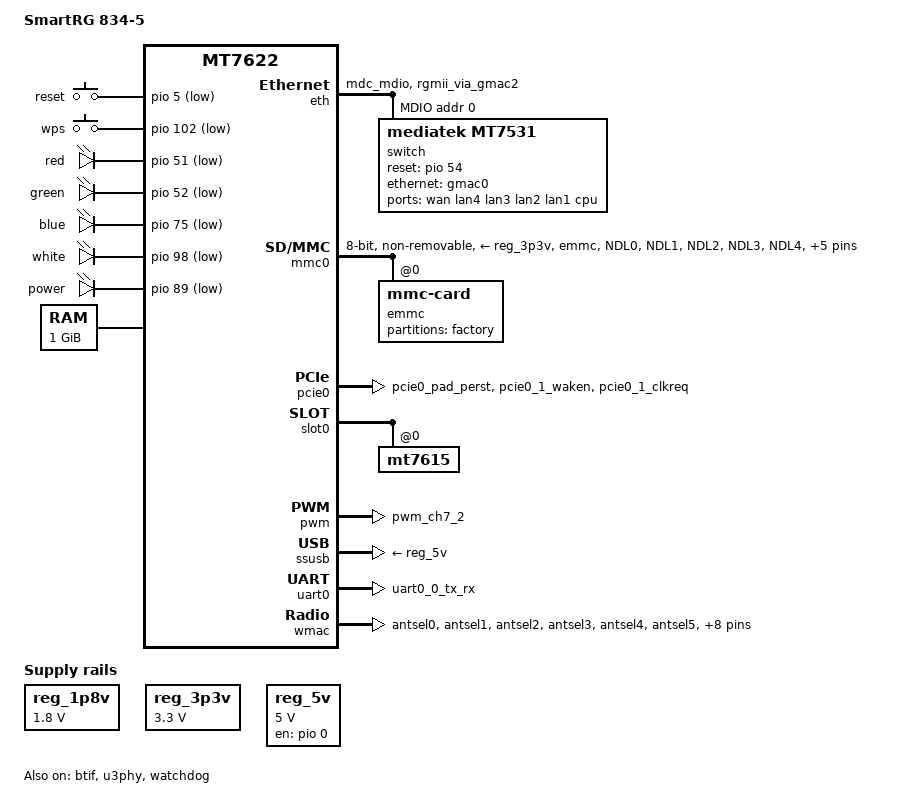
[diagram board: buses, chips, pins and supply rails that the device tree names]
/*
 * Copyright (c) 2018 MediaTek Inc.
 * Author: Ryder Lee <ryder.lee@mediatek.com>
 *
 * SPDX-License-Identifier: (GPL-2.0 OR MIT)
 */

/dts-v1/;
#include <dt-bindings/input/input.h>
#include <dt-bindings/gpio/gpio.h>

#include "mt7622.dtsi"
#include "mt6380.dtsi"

/ {
	model = "SmartRG 834-5";
	compatible = "smartrg,834-5", "mediatek,mt7622";

	aliases {
		serial0 = &uart0;
	};

	chosen {
		stdout-path = "serial0:115200n8";
		bootargs = "earlycon=uart8250,mmio32,0x11002000 console=ttyS0,115200n1 swiotlb=512";
	};

	cpus {
		cpu@0 {
			proc-supply = <&mt6380_vcpu_reg>;
			sram-supply = <&mt6380_vm_reg>;
		};

		cpu@1 {
			proc-supply = <&mt6380_vcpu_reg>;
			sram-supply = <&mt6380_vm_reg>;
		};
	};

	gpio-keys {
		compatible = "gpio-keys";

		reset {
			label = "reset";
			linux,code = <KEY_RESTART>;
			gpios = <&pio 5 GPIO_ACTIVE_LOW>;
		};

		wps {
			label = "wps";
			linux,code = <KEY_WPS_BUTTON>;
			gpios = <&pio 102 GPIO_ACTIVE_LOW>;
		};
	};

	leds {
		compatible = "gpio-leds";

		system_red {
			label = "red";
			gpios = <&pio 51 GPIO_ACTIVE_LOW>;
			default-state = "off";
		};

		system_green {
			label = "green";
			gpios = <&pio 52 GPIO_ACTIVE_LOW>;
			default-state = "off";
		};

		system_blue {
			label = "blue";
			gpios = <&pio 75 GPIO_ACTIVE_LOW>;
			default-state = "off";
		};

		system_white {
			label = "white";
			gpios = <&pio 98 GPIO_ACTIVE_LOW>;
			default-state = "off";
		};

		power {
			label = "power";
			gpios = <&pio 89 GPIO_ACTIVE_LOW>;
			default-state = "on";
		};
	};

	memory {
		reg = <0x0 0x40000000 0x0 0x40000000>;
	};

	reserved-memory {
		#address-cells = <2>;
		#size-cells = <2>;
		ranges;

		bootdata_reserved: bootdata@45000000 {
			no-map;
			reg = <0x0 0x45000000 0x0 0x00001000>;
		};
		ramoops_reserved: ramoops1@45001000 {
			no-map;
			compatible = "ramoops";
			reg = <0x0 0x45001000 0x0 0x00140000>;
			ftrace-size = <0x20000>;
			record-size = <0x20000>;
			console-size = <0x20000>;
			pmsg-size = <0x80000>;
		};
	};

	bootdata {
		compatible = "bootdata";
		memory-region = <&bootdata_reserved>;
	};

	reg_1p8v: regulator-1p8v {
		compatible = "regulator-fixed";
		regulator-name = "fixed-1.8V";
		regulator-min-microvolt = <1800000>;
		regulator-max-microvolt = <1800000>;
		regulator-always-on;
	};

	reg_3p3v: regulator-3p3v {
		compatible = "regulator-fixed";
		regulator-name = "fixed-3.3V";
		regulator-min-microvolt = <3300000>;
		regulator-max-microvolt = <3300000>;
		regulator-boot-on;
		regulator-always-on;
	};

	reg_5v: regulator-5v {
		compatible = "regulator-fixed";
		regulator-name = "fixed-5V";
		regulator-min-microvolt = <5000000>;
		regulator-max-microvolt = <5000000>;
		gpio = <&pio 0 GPIO_ACTIVE_LOW>;
		enable-active-high;
	};
};

&btif {
	status = "okay";
};

&eth {
	pinctrl-names = "default";
	pinctrl-0 = <&eth_pins>;
	status = "okay";

	gmac0: mac@0 {
		compatible = "mediatek,eth-mac";
		reg = <0>;
		phy-mode = "2500base-x";

		fixed-link {
			speed = <2500>;
			full-duplex;
			pause;
		};
	};

	gmac1: mac@1 {
		compatible = "mediatek,eth-mac";
		reg = <1>;
		phy-mode = "rgmii";

		fixed-link {
			speed = <1000>;
			full-duplex;
			pause;
		};
	};

	mdio: mdio-bus {
		#address-cells = <1>;
		#size-cells = <0>;

		switch@0 {
			compatible = "mediatek,mt7531";
			reg = <0>;
			reset-gpios = <&pio 54 0>;

			ports {
				#address-cells = <1>;
				#size-cells = <0>;

				port@0 {
					reg = <0>;
					label = "wan";
				};

				port@1 {
					reg = <1>;
					label = "lan4";
				};

				port@2 {
					reg = <2>;
					label = "lan3";
				};

				port@3 {
					reg = <3>;
					label = "lan2";
				};

				port@4 {
					reg = <4>;
					label = "lan1";
				};

				port@6 {
					reg = <6>;
					label = "cpu";
					ethernet = <&gmac0>;
					phy-mode = "2500base-x";

					fixed-link {
						speed = <2500>;
						full-duplex;
						pause;
					};
				};
			};
		};
	};
};

&mmc0 {
	pinctrl-names = "default", "state_uhs";
	pinctrl-0 = <&emmc_pins_default>;
	pinctrl-1 = <&emmc_pins_uhs>;
	status = "okay";
	bus-width = <8>;
	max-frequency = <50000000>;
	cap-mmc-highspeed;
	mmc-hs200-1_8v;
	vmmc-supply = <&reg_3p3v>;
	vqmmc-supply = <&reg_1p8v>;
	assigned-clocks = <&topckgen CLK_TOP_MSDC30_0_SEL>;
	assigned-clock-parents = <&topckgen CLK_TOP_UNIV48M>;
	non-removable;

	emmc@0 {
		#address-cells = <1>;
		#size-cells = <1>;
		compatible = "mmc-card";
		reg = <0>;

		partitions {
			compatible = "fixed-partitions";
			#address-cells = <1>;
			#size-cells = <1>;

			emmc_factory: partition@1c0000 {
				label = "factory";
				reg = <0x01c0000 0x00100000>;
			};
		};
	};
};

&pcie0 {
	pinctrl-names = "default";
	pinctrl-0 = <&pcie0_pins>;
	status = "okay";
};

&slot0 {
	mt7615@0,0 {
		reg = <0x0000 0 0 0 0>;
		mediatek,mtd-eeprom = <&emmc_factory 0x05000>;
	};
};

&pio {
	/* eMMC is shared pin with parallel NAND */
	emmc_pins_default: emmc-pins-default {
		mux {
			function = "emmc", "emmc_rst";
			groups = "emmc";
		};

		/* "NDL0","NDL1","NDL2","NDL3","NDL4","NDL5","NDL6","NDL7",
		 * "NRB","NCLE" pins are used as DAT0,DAT1,DAT2,DAT3,DAT4,
		 * DAT5,DAT6,DAT7,CMD,CLK for eMMC respectively
		 */
		conf-cmd-dat {
			pins = "NDL0", "NDL1", "NDL2",
			       "NDL3", "NDL4", "NDL5",
			       "NDL6", "NDL7", "NRB";
			input-enable;
			bias-pull-up;
		};

		conf-clk {
			pins = "NCLE";
			bias-pull-down;
		};
	};

	emmc_pins_uhs: emmc-pins-uhs {
		mux {
			function = "emmc";
			groups = "emmc";
		};

		conf-cmd-dat {
			pins = "NDL0", "NDL1", "NDL2",
			       "NDL3", "NDL4", "NDL5",
			       "NDL6", "NDL7", "NRB";
			input-enable;
			drive-strength = <4>;
			bias-pull-up;
		};

		conf-clk {
			pins = "NCLE";
			drive-strength = <4>;
			bias-pull-down;
		};
	};

	eth_pins: eth-pins {
		mux {
			function = "eth";
			groups = "mdc_mdio", "rgmii_via_gmac2";
		};
	};

	pcie0_pins: pcie0-pins {
		mux {
			function = "pcie";
			groups = "pcie0_pad_perst",
				 "pcie0_1_waken",
				 "pcie0_1_clkreq";
		};
	};

	pmic_bus_pins: pmic-bus-pins {
		mux {
			function = "pmic";
			groups = "pmic_bus";
		};
	};

	pwm7_pins: pwm1-2-pins {
		mux {
			function = "pwm";
			groups = "pwm_ch7_2";
		};
	};

	uart0_pins: uart0-pins {
		mux {
			function = "uart";
			groups = "uart0_0_tx_rx" ;
		};
	};

	watchdog_pins: watchdog-pins {
		mux {
			function = "watchdog";
			groups = "watchdog";
		};
	};

	wmac0_pins: epa-pins {
		mux {
			function = "antsel";
			groups = "antsel0", "antsel1", "antsel2", "antsel3",
				 "antsel4", "antsel5", "antsel6",
				 "antsel8", "antsel9", "antsel12", "antsel13",
				 "antsel15", "antsel16", "antsel17";
		};
	};
};

&pwm {
	pinctrl-names = "default";
	pinctrl-0 = <&pwm7_pins>;
	status = "okay";
};

&pwrap {
	pinctrl-names = "default";
	pinctrl-0 = <&pmic_bus_pins>;
	status = "okay";
};

&ssusb {
	vusb33-supply = <&reg_3p3v>;
	vbus-supply = <&reg_5v>;
	status = "okay";
};

&u3phy {
	status = "okay";
};

&uart0 {
	pinctrl-names = "default";
	pinctrl-0 = <&uart0_pins>;
	status = "okay";
};

&watchdog {
	pinctrl-names = "default";
	pinctrl-0 = <&watchdog_pins>;
	status = "okay";
};

&wmac {
	pinctrl-names = "default";
	pinctrl-0 = <&wmac0_pins>;

	mediatek,mtd-eeprom = <&emmc_factory 0x0000>;
	status = "okay";
};
